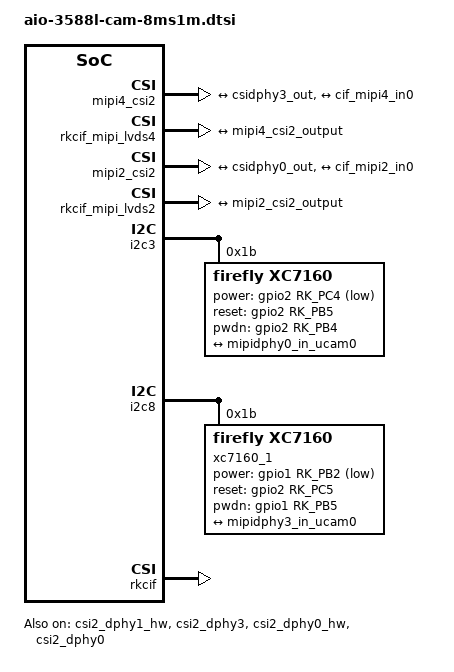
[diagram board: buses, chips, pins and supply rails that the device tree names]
// SPDX-License-Identifier: (GPL-2.0+ OR MIT)
/*
 * Copyright (c) 2021 Rockchip Electronics Co., Ltd.
 *
 */

/ {
	cam_ircut0: cam_ircut {
		status = "disabled";
		compatible = "rockchip,ircut";
		ircut-open-gpios = <&gpio4 RK_PA6 GPIO_ACTIVE_HIGH>;
		ircut-close-gpios  = <&gpio4 RK_PA7 GPIO_ACTIVE_HIGH>;
		rockchip,camera-module-index = <0>;
		rockchip,camera-module-facing = "back";
	};

	vcc_mipidphy0: vcc-mipidcphy0-regulator {
		status = "disabled";
		compatible = "regulator-fixed";
		gpio = <&gpio2 RK_PC4 GPIO_ACTIVE_HIGH>;
		pinctrl-names = "default";
		pinctrl-0 = <&mipidphy0_pwr>;
		regulator-name = "vcc_mipidphy0";
		enable-active-high;
	};
	vcc_mipidphy1: vcc-mipidcphy0-regulator {
		status = "disabled";
		compatible = "regulator-fixed";
		gpio = <&gpio1 RK_PB2 GPIO_ACTIVE_HIGH>;
		pinctrl-names = "default";
		pinctrl-0 = <&mipidphy1_pwr>;
		regulator-name = "vcc_mipidphy1";
		enable-active-high;
	};
};

&csi2_dphy1_hw {
	status = "okay";
};

&csi2_dphy3 {
	status = "okay";
#ifdef FF_COMPATIBLE
		firefly-compatible;
#endif
	ports {
		#address-cells = <1>;
		#size-cells = <0>;
		port@0 {
			reg = <0>;
			#address-cells = <1>;
			#size-cells = <0>;

			mipidphy3_in_ucam0: endpoint@1 {
				reg = <1>;
				remote-endpoint = <&xc7160_out1>;
				data-lanes = <1 2 3 4>;
			};
		};
		port@1 {
			reg = <1>;
			#address-cells = <1>;
			#size-cells = <0>;

			csidphy3_out: endpoint@0 {
				reg = <0>;
				remote-endpoint = <&mipi4_csi2_input>;
			};
		};
	};
};

&mipi4_csi2 {
	status = "okay";

#ifdef FF_COMPATIBLE
		firefly-compatible;
#endif
	ports {
		#address-cells = <1>;
		#size-cells = <0>;

		port@0 {
			reg = <0>;
			#address-cells = <1>;
			#size-cells = <0>;

			mipi4_csi2_input: endpoint@1 {
				reg = <1>;
				remote-endpoint = <&csidphy3_out>;
			};
		};

		port@1 {
			reg = <1>;
			#address-cells = <1>;
			#size-cells = <0>;

			mipi4_csi2_output: endpoint@0 {
				reg = <0>;
				remote-endpoint = <&cif_mipi4_in0>;
			};
		};
	};
};

&rkcif_mipi_lvds4 {
        status = "okay";

        port {
                cif_mipi4_in0: endpoint {
                        remote-endpoint = <&mipi4_csi2_output>;
                };
        };
};

&rkcif_mipi_lvds4_sditf {
	status = "disabled";

	port {
		mipi_lvds4_sditf: endpoint {
			remote-endpoint = <&isp1_vir1>;
		};
	};
};

&rkisp1 {
	status = "disabled";
};

&isp1_mmu {
	status = "disabled";
};

&rkisp1_vir1 {
	status = "disabled";

	port {
		#address-cells = <1>;
		#size-cells = <0>;

		isp1_vir1: endpoint@0 {
			reg = <0>;
			remote-endpoint = <&mipi_lvds4_sditf>;
		};
	};
};

&csi2_dphy0_hw {
	status = "okay";
}; 

&csi2_dphy0 {
	status = "okay";

#ifdef FF_COMPATIBLE
		firefly-compatible;
#endif
	ports {
		#address-cells = <1>;
		#size-cells = <0>;
		port@0 {
			reg = <0>;
			#address-cells = <1>;
			#size-cells = <0>;

			mipidphy0_in_ucam0: endpoint@1 {
				reg = <1>;
				remote-endpoint = <&xc7160_out0>;
				data-lanes = <1 2 3 4>;
			};
		};
		port@1 {
			reg = <1>;
			#address-cells = <1>;
			#size-cells = <0>;

			csidphy0_out: endpoint@0 {
				reg = <0>;
				remote-endpoint = <&mipi2_csi2_input>;
			};
		};
	};
};

&mipi2_csi2 {
        status = "okay";

#ifdef FF_COMPATIBLE
		firefly-compatible;
#endif
        ports {
                #address-cells = <1>;
                #size-cells = <0>;

                port@0 {
                        reg = <0>;
                        #address-cells = <1>;
                        #size-cells = <0>;

                        mipi2_csi2_input: endpoint@1 {
                                reg = <1>;
                                remote-endpoint = <&csidphy0_out>;
                        };
                };

                port@1 {
                        reg = <1>;
                        #address-cells = <1>;
                        #size-cells = <0>;

                        mipi2_csi2_output: endpoint@0 {
                                reg = <0>;
                                remote-endpoint = <&cif_mipi2_in0>;
                        };
                };
        };
};

&rkcif_mipi_lvds2 {
        status = "okay";

        port {
                cif_mipi2_in0: endpoint {
                        remote-endpoint = <&mipi2_csi2_output>;
                };
        };
};

&rkcif_mipi_lvds2_sditf {
	status = "disabled";

	port {
		mipi_lvds2_sditf: endpoint {
			remote-endpoint = <&isp0_vir2>;
		};
	};
};

&rkisp0 {
	status = "disabled";
};

&isp0_mmu {
	status = "disabled";
};

&rkisp0_vir2 {
	status = "disabled";

	port {
		#address-cells = <1>;
		#size-cells = <0>;

		isp0_vir2: endpoint@0 {
			reg = <0>;
			remote-endpoint = <&mipi_lvds2_sditf>;
		};
	};
};

&i2c3 {
        status = "okay";
        pinctrl-names = "default";
	pinctrl-0 = <&i2c3m0_xfer>;

 	XC7160: XC7160b@1b{
               compatible = "firefly,xc7160";
               status = "okay";
               reg = <0x1b>;
	        clocks = <&cru CLK_MIPI_CAMARAOUT_M1>;
               clock-names = "xvclk";
               pinctrl-names = "default";
	        pinctrl-0 = <&mipim0_camera1_clk>;
               power-domains = <&power RK3588_PD_VI>;

               power-gpios = <&gpio2 RK_PC4 GPIO_ACTIVE_LOW>;
               reset-gpios = <&gpio2 RK_PB5 GPIO_ACTIVE_HIGH>;
               pwdn-gpios = <&gpio2 RK_PB4 GPIO_ACTIVE_HIGH>;

			#define FF_COMPATIBLE
               //avdd-supply = <&vcc_mipidphy0>;
               firefly,clkout-enabled-index = <0>;
               rockchip,camera-module-index = <0>;
               rockchip,camera-module-facing = "back";
               rockchip,camera-module-name = "NC";
               rockchip,camera-module-lens-name = "NC";
               port {
                        xc7160_out0: endpoint {
                               remote-endpoint = <&mipidphy0_in_ucam0>;
                               data-lanes = <1 2 3 4>;
                       };
               };
       };
};

&i2c8 {
        status = "okay";
        pinctrl-names = "default";
	pinctrl-0 = <&i2c8m4_xfer>;
 
       xc7160_1: xc7160-1@1b {
               compatible = "firefly,xc7160";
               reg = <0x1b>;
               clocks = <&cru CLK_MIPI_CAMARAOUT_M3>;
               clock-names = "xvclk";
               pinctrl-names = "default";
               pinctrl-0 = <&mipim0_camera3_clk>;
               power-domains = <&power RK3588_PD_VI>;

               power-gpios = <&gpio1 RK_PB2 GPIO_ACTIVE_LOW>;
               reset-gpios = <&gpio2 RK_PC5 GPIO_ACTIVE_HIGH>;
               pwdn-gpios = <&gpio1 RK_PB5 GPIO_ACTIVE_HIGH>;

			#define FF_COMPATIBLE
               //avdd-supply = <&vcc_mipidphy1>;
               firefly,clkout-enabled-index = <0>;
               rockchip,camera-module-index = <2>;
               rockchip,camera-module-facing = "back";
               rockchip,camera-module-name = "NC";
               rockchip,camera-module-lens-name = "NC";
               port {
                       xc7160_out1: endpoint {
                               remote-endpoint = <&mipidphy3_in_ucam0>;
                               data-lanes = <1 2 3 4>;
                       };
               };
       };
};


&pinctrl {
	cam {
		mipidphy0_pwr: mipidphy0-pwr {
			rockchip,pins =
				/* camera power en */
				<2 RK_PC4 RK_FUNC_GPIO &pcfg_pull_none>;
		};
	};
	cam {
		mipidphy1_pwr: mipidphy1-pwr {
			rockchip,pins =
				/* camera power en */
				<1 RK_PB2 RK_FUNC_GPIO &pcfg_pull_none>;
		};
	};
};

&rkcif {
	status = "okay";
//	memory-region = <&cif_reserved>;
};

&rkcif_mmu {
	status = "okay";
};
